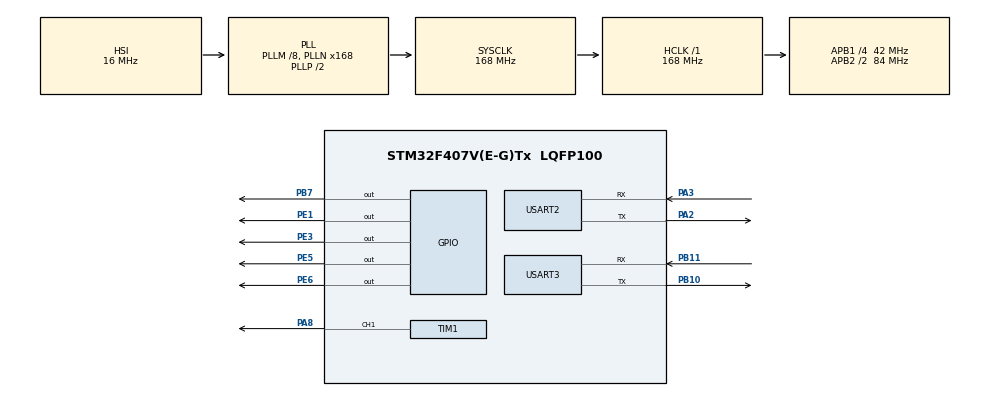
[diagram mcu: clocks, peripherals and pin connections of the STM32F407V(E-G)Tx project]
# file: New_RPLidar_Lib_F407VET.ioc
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Mcu.Family=STM32F4
Mcu.Name=STM32F407V(E-G)Tx
Mcu.Package=LQFP100
NVIC.PriorityGroup=NVIC_PRIORITYGROUP_4
PA2.Mode=Asynchronous
PA2.Signal=USART2_TX
PA3.Mode=Asynchronous
PA3.Signal=USART2_RX
PA8.Signal=S_TIM1_CH1
PB10.Mode=Asynchronous
PB10.Signal=USART3_TX
PB11.Mode=Asynchronous
PB11.Signal=USART3_RX
PB7.Signal=GPIO_Output
PE1.Signal=GPIO_Output
PE3.Signal=GPIO_Output
PE5.Signal=GPIO_Output
PE6.Signal=GPIO_Output
PH0-OSC_IN.Mode=HSE-External-Oscillator
PH0-OSC_IN.Signal=RCC_OSC_IN
PH1-OSC_OUT.Mode=HSE-External-Oscillator
PH1-OSC_OUT.Signal=RCC_OSC_OUT
ProjectManager.HeapSize=0x200
ProjectManager.StackSize=0x400
ProjectManager.TargetToolchain=MDK-ARM V5.32
RCC.48MHZClocksFreq_Value=84000000
RCC.AHBFreq_Value=168000000
RCC.APB1CLKDivider=RCC_HCLK_DIV4
RCC.APB1Freq_Value=42000000
RCC.APB1TimFreq_Value=84000000
RCC.APB2CLKDivider=RCC_HCLK_DIV2
RCC.APB2Freq_Value=84000000
RCC.APB2TimFreq_Value=168000000
RCC.CortexFreq_Value=168000000
RCC.HCLKFreq_Value=168000000
RCC.HSE_VALUE=25000000
RCC.HSI_VALUE=16000000
RCC.LSE_VALUE=32768
RCC.PLLM=8
RCC.PLLN=168
RCC.SYSCLKFreq_VALUE=168000000
RCC.SYSCLKSource=RCC_SYSCLKSOURCE_PLLCLK
RCC.VCOOutputFreq_Value=336000000
SH.S_TIM1_CH1.0=TIM1_CH1,PWM Generation1 CH1
TIM1.Channel-PWM\ Generation1\ CH1=TIM_CHANNEL_1
TIM1.Period=1818-1
TIM1.Prescaler=16800-1
USART2.VirtualMode=VM_ASYNC
USART3.VirtualMode=VM_ASYNC
VP_TIM1_VS_ClockSourceINT.Mode=Internal
board=custom

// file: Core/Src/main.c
/* USER CODE BEGIN Header */
/**
  ******************************************************************************
  * @file           : main.c
  * @brief          : Main program body
  ******************************************************************************
  * @attention
  *
  * Copyright (c) 2023 STMicroelectronics.
  * All rights reserved.
  *
  * This software is licensed under terms that can be found in the LICENSE file
  * in the root directory of this software component.
  * If no LICENSE file comes with this software, it is provided AS-IS.
  *
  ******************************************************************************
  */
/* USER CODE END Header */
#include "main.h"

/* USER CODE BEGIN Includes */
#include "RPLidarA1.h"
#include <math.h>
/* USER CODE END Includes */

/* USER CODE BEGIN PTD */
#define DIST_STOPPER 100
/* USER CODE END PTD */

TIM_HandleTypeDef htim1;

UART_HandleTypeDef huart2;
UART_HandleTypeDef huart3;

void SystemClock_Config(void);
static void MX_GPIO_Init(void);
static void MX_TIM1_Init(void);
static void MX_USART2_UART_Init(void);
static void MX_USART3_UART_Init(void);

/* USER CODE BEGIN 0 */
lidar_HandleTypeDef lidar;
lidar_StatusTypeDef status;
lidar_health_response_t health;
lidar_info_response_t info;
lidar_samplerate_response_t samplerate;
lidar_distance_angle_t value;
lidar_conf_t conf;
lidar_data_scan_t scan;
lidar_angletodata_t data;

int counter = 0;
/* USER CODE END 0 */

int main(void)
{
  /* USER CODE BEGIN 1 */
	lidar.huart = &huart2;
  /* USER CODE END 1 */

  /* MCU Configuration--------------------------------------------------------*/

  /* Reset of all peripherals, Initializes the Flash interface and the Systick. */
  HAL_Init();

  /* Configure the system clock */
  SystemClock_Config();

  /* Initialize all configured peripherals */
  MX_GPIO_Init();
  MX_TIM1_Init();
  MX_USART2_UART_Init();
  MX_USART3_UART_Init();
  /* USER CODE BEGIN 2 */

	TIM1->CCR1 = (100*1818/100);
	HAL_TIM_PWM_Start(&htim1, TIM_CHANNEL_1);

	lidar_setup(&lidar);
	HAL_Delay(1000);

	HAL_GPIO_WritePin(GPIOE, GPIO_PIN_6, GPIO_PIN_RESET);
	HAL_Delay(10);
	HAL_GPIO_WritePin(GPIOE, GPIO_PIN_6, GPIO_PIN_SET);

  /* USER CODE END 2 */

  /* Infinite loop */
  /* USER CODE BEGIN WHILE */
  while (1)
  {
		status = lidar_start_scan(&lidar);
		if(status == LIDAR_OK){
			while(1){
				status = lidar_get_point(&lidar);

				long sumDegA = 0, sumDegB = 0, sumDegC = 0, sumDegD = 0, sumDegE = 0, sumDegF = 0, sumDegG=0, sumDegH=0;
				int countA = 0, countB=0, countC=0, countD=0, countE=0, countF=0, countG=0, countH=0;
				for(int i =0; i < 45; i++){
					if(lidar.degA[i] > 0.1){
						sumDegA += lidar.degA[i];
						countA++;
					}
					if(lidar.degB[i] > 0.1){
						sumDegB += lidar.degB[i];
						countB++;
					}
					if(lidar.degC[i] > 0.1){
						sumDegC += lidar.degC[i];
						countC++;
					}
					if(lidar.degD[i] > 0.1){
						sumDegD += lidar.degD[i];
						countD++;
					}
					if(lidar.degE[i] > 0.1){
						sumDegE += lidar.degE[i];
						countE++;
					}
					if(lidar.degF[i] > 0.1){
						sumDegF += lidar.degF[i];
						countF++;
					}
					if(lidar.degG[i] > 0.1){
						sumDegG += lidar.degG[i];
						countG++;
					}
					if(lidar.degH[i] > 0.1){
						sumDegH += lidar.degH[i];
						countH++;
					}
				}
				lidar.AVG[0] = sumDegA/countA;
				lidar.AVG[1] = sumDegB/countB;
				lidar.AVG[2] = sumDegC/countC;
				lidar.AVG[3] = sumDegD/countD;
				lidar.AVG[4] = sumDegE/countE;
				lidar.AVG[5] = sumDegF/countF;
				lidar.AVG[6] = sumDegG/countG;
				lidar.AVG[7] = sumDegH/countH;

				uint8_t msg[] = {0x00};
				if(sumDegA/countA < DIST_STOPPER){
					msg[0] |= 0x01;
				}
				if(sumDegB/countB < DIST_STOPPER){
					msg[0] |= 0x02;
				}
				if(sumDegC/countC < DIST_STOPPER){
					msg[0] |= 0x04;
				}
				if(sumDegD/countD < DIST_STOPPER){
					msg[0] |= 0x08;
				}
				if(sumDegE/countE < DIST_STOPPER){
					msg[0] |= 0x10;
				}
				if(sumDegF/countF < DIST_STOPPER){
					msg[0] |= 0x20;
				}
				if(sumDegG/countG < DIST_STOPPER){
					msg[0] |= 0x40;
				}
				if(sumDegA/countH < DIST_STOPPER){
					msg[0] |= 0x80;
				}
				HAL_UART_Transmit(&huart3, msg, 1, 100);

//				if(status == LIDAR_OK){
//					if( lidar.distance > 0.1){
////						data.angleToDistance[(int)floor(lidar.angle)]=lidar.distance;
//					}
//				}
			}
		}
    /* USER CODE END WHILE */

  }
}

void SystemClock_Config(void)
{
  RCC_OscInitTypeDef RCC_OscInitStruct = {0};
  RCC_ClkInitTypeDef RCC_ClkInitStruct = {0};

  /** Configure the main internal regulator output voltage
  */
  __HAL_RCC_PWR_CLK_ENABLE();
  __HAL_PWR_VOLTAGESCALING_CONFIG(PWR_REGULATOR_VOLTAGE_SCALE1);

  /** Initializes the RCC Oscillators according to the specified parameters
  * in the RCC_OscInitTypeDef structure.
  */
  RCC_OscInitStruct.OscillatorType = RCC_OSCILLATORTYPE_HSI;
  RCC_OscInitStruct.HSIState = RCC_HSI_ON;
  RCC_OscInitStruct.HSICalibrationValue = RCC_HSICALIBRATION_DEFAULT;
  RCC_OscInitStruct.PLL.PLLState = RCC_PLL_ON;
  RCC_OscInitStruct.PLL.PLLSource = RCC_PLLSOURCE_HSI;
  RCC_OscInitStruct.PLL.PLLM = 8;
  RCC_OscInitStruct.PLL.PLLN = 168;
  RCC_OscInitStruct.PLL.PLLP = RCC_PLLP_DIV2;
  RCC_OscInitStruct.PLL.PLLQ = 4;
  if (HAL_RCC_OscConfig(&RCC_OscInitStruct) != HAL_OK)
  {
    Error_Handler();
  }

  /** Initializes the CPU, AHB and APB buses clocks
  */
  RCC_ClkInitStruct.ClockType = RCC_CLOCKTYPE_HCLK|RCC_CLOCKTYPE_SYSCLK
                              |RCC_CLOCKTYPE_PCLK1|RCC_CLOCKTYPE_PCLK2;
  RCC_ClkInitStruct.SYSCLKSource = RCC_SYSCLKSOURCE_PLLCLK;
  RCC_ClkInitStruct.AHBCLKDivider = RCC_SYSCLK_DIV1;
  RCC_ClkInitStruct.APB1CLKDivider = RCC_HCLK_DIV4;
  RCC_ClkInitStruct.APB2CLKDivider = RCC_HCLK_DIV2;

  if (HAL_RCC_ClockConfig(&RCC_ClkInitStruct, FLASH_LATENCY_5) != HAL_OK)
  {
    Error_Handler();
  }
}

static void MX_TIM1_Init(void)
{

  TIM_ClockConfigTypeDef sClockSourceConfig = {0};
  TIM_MasterConfigTypeDef sMasterConfig = {0};
  TIM_OC_InitTypeDef sConfigOC = {0};
  TIM_BreakDeadTimeConfigTypeDef sBreakDeadTimeConfig = {0};

  htim1.Instance = TIM1;
  htim1.Init.Prescaler = 16800-1;
  htim1.Init.CounterMode = TIM_COUNTERMODE_UP;
  htim1.Init.Period = 1818-1;
  htim1.Init.ClockDivision = TIM_CLOCKDIVISION_DIV1;
  htim1.Init.RepetitionCounter = 0;
  htim1.Init.AutoReloadPreload = TIM_AUTORELOAD_PRELOAD_DISABLE;
  if (HAL_TIM_Base_Init(&htim1) != HAL_OK)
  {
    Error_Handler();
  }
  sClockSourceConfig.ClockSource = TIM_CLOCKSOURCE_INTERNAL;
  if (HAL_TIM_ConfigClockSource(&htim1, &sClockSourceConfig) != HAL_OK)
  {
    Error_Handler();
  }
  if (HAL_TIM_PWM_Init(&htim1) != HAL_OK)
  {
    Error_Handler();
  }
  sMasterConfig.MasterOutputTrigger = TIM_TRGO_RESET;
  sMasterConfig.MasterSlaveMode = TIM_MASTERSLAVEMODE_DISABLE;
  if (HAL_TIMEx_MasterConfigSynchronization(&htim1, &sMasterConfig) != HAL_OK)
  {
    Error_Handler();
  }
  sConfigOC.OCMode = TIM_OCMODE_PWM1;
  sConfigOC.Pulse = 0;
  sConfigOC.OCPolarity = TIM_OCPOLARITY_HIGH;
  sConfigOC.OCNPolarity = TIM_OCNPOLARITY_HIGH;
  sConfigOC.OCFastMode = TIM_OCFAST_DISABLE;
  sConfigOC.OCIdleState = TIM_OCIDLESTATE_RESET;
  sConfigOC.OCNIdleState = TIM_OCNIDLESTATE_RESET;
  if (HAL_TIM_PWM_ConfigChannel(&htim1, &sConfigOC, TIM_CHANNEL_1) != HAL_OK)
  {
    Error_Handler();
  }
  sBreakDeadTimeConfig.OffStateRunMode = TIM_OSSR_DISABLE;
  sBreakDeadTimeConfig.OffStateIDLEMode = TIM_OSSI_DISABLE;
  sBreakDeadTimeConfig.LockLevel = TIM_LOCKLEVEL_OFF;
  sBreakDeadTimeConfig.DeadTime = 0;
  sBreakDeadTimeConfig.BreakState = TIM_BREAK_DISABLE;
  sBreakDeadTimeConfig.BreakPolarity = TIM_BREAKPOLARITY_HIGH;
  sBreakDeadTimeConfig.AutomaticOutput = TIM_AUTOMATICOUTPUT_DISABLE;
  if (HAL_TIMEx_ConfigBreakDeadTime(&htim1, &sBreakDeadTimeConfig) != HAL_OK)
  {
    Error_Handler();
  }
  HAL_TIM_MspPostInit(&htim1);

}

static void MX_USART2_UART_Init(void)
{

  huart2.Instance = USART2;
  huart2.Init.BaudRate = 115200;
  huart2.Init.WordLength = UART_WORDLENGTH_8B;
  huart2.Init.StopBits = UART_STOPBITS_1;
  huart2.Init.Parity = UART_PARITY_NONE;
  huart2.Init.Mode = UART_MODE_TX_RX;
  huart2.Init.HwFlowCtl = UART_HWCONTROL_NONE;
  huart2.Init.OverSampling = UART_OVERSAMPLING_16;
  if (HAL_UART_Init(&huart2) != HAL_OK)
  {
    Error_Handler();
  }

}

static void MX_USART3_UART_Init(void)
{

  huart3.Instance = USART3;
  huart3.Init.BaudRate = 115200;
  huart3.Init.WordLength = UART_WORDLENGTH_8B;
  huart3.Init.StopBits = UART_STOPBITS_1;
  huart3.Init.Parity = UART_PARITY_NONE;
  huart3.Init.Mode = UART_MODE_TX_RX;
  huart3.Init.HwFlowCtl = UART_HWCONTROL_NONE;
  huart3.Init.OverSampling = UART_OVERSAMPLING_16;
  if (HAL_UART_Init(&huart3) != HAL_OK)
  {
    Error_Handler();
  }

}

static void MX_GPIO_Init(void)
{
  GPIO_InitTypeDef GPIO_InitStruct = {0};

  /* GPIO Ports Clock Enable */
  __HAL_RCC_GPIOE_CLK_ENABLE();
  __HAL_RCC_GPIOH_CLK_ENABLE();
  __HAL_RCC_GPIOA_CLK_ENABLE();
  __HAL_RCC_GPIOB_CLK_ENABLE();

  /*Configure GPIO pin Output Level */
  HAL_GPIO_WritePin(GPIOE, GPIO_PIN_3|GPIO_PIN_5|GPIO_PIN_6|GPIO_PIN_1, GPIO_PIN_RESET);

  /*Configure GPIO pin Output Level */
  HAL_GPIO_WritePin(GPIOB, GPIO_PIN_7, GPIO_PIN_RESET);

  /*Configure GPIO pins : PE3 PE5 PE6 PE1 */
  GPIO_InitStruct.Pin = GPIO_PIN_3|GPIO_PIN_5|GPIO_PIN_6|GPIO_PIN_1;
  GPIO_InitStruct.Mode = GPIO_MODE_OUTPUT_PP;
  GPIO_InitStruct.Pull = GPIO_NOPULL;
  GPIO_InitStruct.Speed = GPIO_SPEED_FREQ_LOW;
  HAL_GPIO_Init(GPIOE, &GPIO_InitStruct);

  /*Configure GPIO pin : PB7 */
  GPIO_InitStruct.Pin = GPIO_PIN_7;
  GPIO_InitStruct.Mode = GPIO_MODE_OUTPUT_PP;
  GPIO_InitStruct.Pull = GPIO_NOPULL;
  GPIO_InitStruct.Speed = GPIO_SPEED_FREQ_LOW;
  HAL_GPIO_Init(GPIOB, &GPIO_InitStruct);

}

void Error_Handler(void)
{
  __disable_irq();
  while (1)
  {
  }
}
